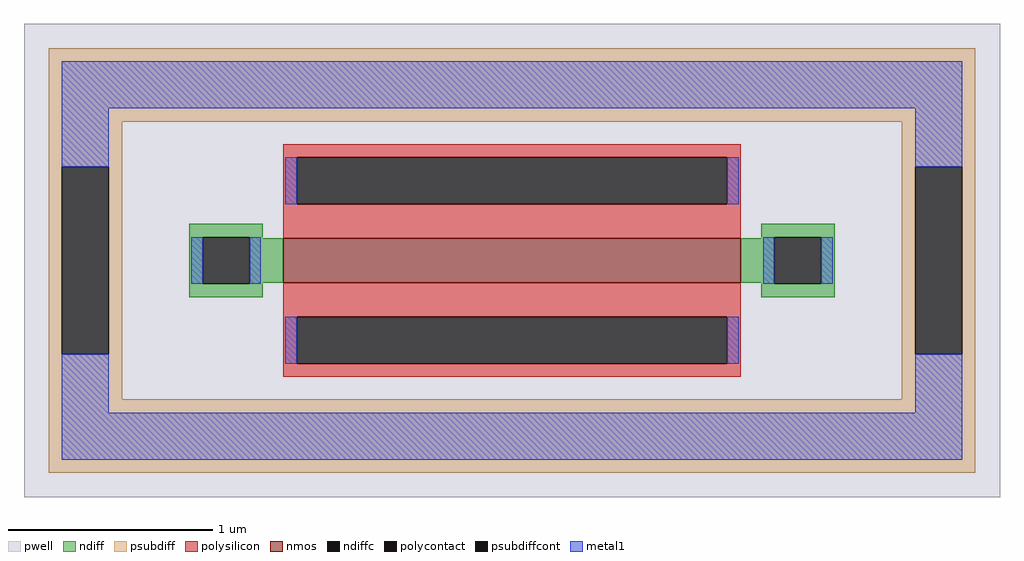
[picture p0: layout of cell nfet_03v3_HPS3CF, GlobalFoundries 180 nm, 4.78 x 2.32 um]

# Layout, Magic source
magic
tech gf180mcuC
magscale 1 10
<< pwell >>
rect -478 -232 478 232
<< nmos >>
rect -224 -22 224 22
<< ndiff >>
rect -316 23 -244 36
rect -316 -23 -303 23
rect -257 22 -244 23
rect 244 23 316 36
rect 244 22 257 23
rect -257 -22 -224 22
rect 224 -22 257 22
rect -257 -23 -244 -22
rect -316 -36 -244 -23
rect 244 -23 257 -22
rect 303 -23 316 23
rect 244 -36 316 -23
<< ndiffc >>
rect -303 -23 -257 23
rect 257 -23 303 23
<< psubdiff >>
rect -454 136 454 208
rect -454 92 -382 136
rect -454 -92 -441 92
rect -395 -92 -382 92
rect 382 92 454 136
rect -454 -136 -382 -92
rect 382 -92 395 92
rect 441 -92 454 92
rect 382 -136 454 -92
rect -454 -208 454 -136
<< psubdiffcont >>
rect -441 -92 -395 92
rect 395 -92 441 92
<< polysilicon >>
rect -224 101 224 114
rect -224 55 -211 101
rect 211 55 224 101
rect -224 22 224 55
rect -224 -55 224 -22
rect -224 -101 -211 -55
rect 211 -101 224 -55
rect -224 -114 224 -101
<< polycontact >>
rect -211 55 211 101
rect -211 -101 211 -55
<< metal1 >>
rect -441 149 441 195
rect -441 92 -395 149
rect -222 55 -211 101
rect 211 55 222 101
rect 395 92 441 149
rect -314 -23 -303 23
rect -257 -23 -246 23
rect 246 -23 257 23
rect 303 -23 314 23
rect -441 -149 -395 -92
rect -222 -101 -211 -55
rect 211 -101 222 -55
rect 395 -149 441 -92
rect -441 -195 441 -149
<< properties >>
string FIXED_BBOX -418 -172 418 172
string gencell nfet_03v3
string library gf180mcu
string parameters w 0.22 l 2.24 m 1 nf 1 diffcov 100 polycov 100 guard 1 glc 1 grc 1 gtc 0 gbc 0 tbcov 100 rlcov 100 topc 1 botc 1 poverlap 0 doverlap 1 lmin 0.28 wmin 0.22 class mosfet full_metal 1 compatible {nfet_03v3 nfet_05v0 nfet_06v0 nfet_06v0_nvt} ad {int((nf+1)/2) * W/nf * 0.18u} as {int((nf+2)/2) * W/nf * 0.18u} pd {2*int((nf+1)/2) * (W/nf + 0.18u)} ps {2*int((nf+2)/2) * (W/nf + 0.18u)} nrd {0.18u / W} nrs {0.18u / W} sa 0 sb 0 sd 0
<< end >>
